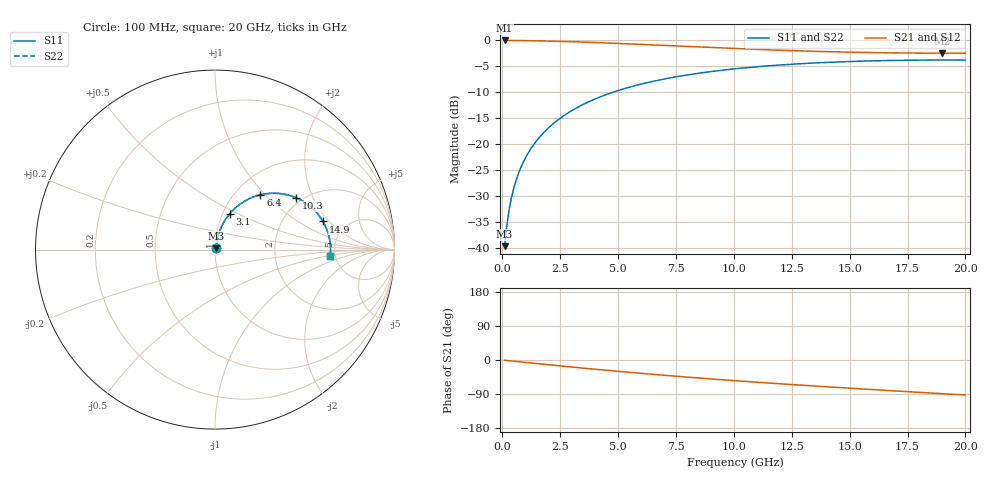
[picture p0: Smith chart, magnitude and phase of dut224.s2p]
! Touchstone file exported from HFSS 2026.1.0
!  File:  C:/ffzhzh/LocalFiles/Ansys_Project_Files/temp_train_TSV_RDL_224_1783063459_46780.aedt
!  Generated:  03:37:02 PM Jul  3, 2026
!  Design:  TSV_RDL
!  Project:  temp_train_TSV_RDL_224_1783063459_46780
! Variables:
!  h_bsmrdl = 5.81um
!  h_ox = 20um
!  h_rdl = 5um
!  h_sub = 50.63um
!  h_tmrdl = 5.46um
!  h_tsv = 50.63um
!  h_via = 3um
!  l_bsmrdl = 255.69um
!  l_sub = 1743.86um
!  l_tmrdl = 121.36um
!  m_sub = 200um
!  pitch = 57.96um
!  r_tsv = 8.37um
!  s_tmrdl = 10um
!  w_bsmrdl = 11.31um
!  w_sub = 500um
!  w_tmrdl = 19.14um
!  x_tsv_center1 = 130.93um
!  x_tsv_center2 = 397.93um
!  x_tsv_center3 = 538.43um
!  x_tsv_center4 = 805.43um
!  x_tsv_center5 = 945.93um
!  x_tsv_center6 = 1212.93um
# GHz S MA R 50.000000
! Terminal data exported
! Port[1] = TM_RDL1_1_T1
! Port[2] = TM_RDL5_1_T1
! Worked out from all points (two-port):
!   200 points, 100 MHz to 20 GHz, reference 50 ohm
!   highest |S21| = -0.06 dB at 100 MHz (marker M1); lowest = -2.5 dB at 19 GHz (marker M2)
!   |S21| within 3 dB of the highest: start of sweep to end of sweep
!   lowest |S11| = -39.6 dB at 100 MHz (marker M3), VSWR 1.02, Z = 50.7 + j0.76 ohm
!   |S11| at or under -10 dB: start of sweep to 4.794 GHz
!   |S22| runs from -39.6 to -3.8 dB; largest |S21 - S12| = 2.8e-14
!   S11 on the Smith chart (normalised r, x): 100 MHz: 1.01, +0.02; 3.1 GHz: 1.08, +0.45; 6.4 GHz: 1.30, +0.94; 10.3 GHz: 1.86, +1.51; 14.9 GHz: 3.34, +1.71; 20 GHz: 4.52, -0.58
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0.1  0.01044 45.9  0.9928 -0.6  0.9928 -0.6  0.01044 45.9
! Gamma 0 0 0 0
! Port Impedance 50 0 50 0
0.2  0.01677 62.8  0.9926 -1.3  0.9926 -1.3  0.01677 62.8
0.3  0.02374 69.6  0.9922 -1.9  0.9922 -1.9  0.02374 69.6
0.4  0.03086 72.9  0.9918 -2.6  0.9918 -2.6  0.03086 72.9
0.5  0.03801 74.8  0.9914 -3.2  0.9914 -3.2  0.03801 74.8
0.7  0.05232 76.4  0.9904 -4.5  0.9904 -4.5  0.05232 76.4
1  0.07371 76.9  0.9886 -6.3  0.9886 -6.3  0.07371 76.9
1.4  0.102 75.9  0.9856 -8.8  0.9856 -8.8  0.102 75.9
1.9  0.1368 73.9  0.9806 -11.9  0.9806 -11.9  0.1368 73.9
2.5  0.1773 70.9  0.9732 -15.6  0.9732 -15.6  0.1773 70.9
3.1  0.2162 67.6  0.9643 -19.2  0.9643 -19.2  0.2162 67.6
3.5  0.2412 65.5  0.9578 -21.5  0.9578 -21.5  0.2412 65.5
4.8  0.3165 58.5  0.9339 -28.8  0.9339 -28.8  0.3165 58.5
6.4  0.3966 50.3  0.9017 -37.3  0.9017 -37.3  0.3966 50.3
6.8  0.4145 48.3  0.8935 -39.4  0.8935 -39.4  0.4145 48.3
10.1  0.5312 33.4  0.8297 -54.8  0.8297 -54.8  0.5312 33.4
10.3  0.5367 32.5  0.8263 -55.7  0.8263 -55.7  0.5367 32.5
13.4  0.6017 20.2  0.7816 -68.3  0.7816 -68.3  0.6017 20.2
14.9  0.6215 14.6  0.7666 -74.0  0.7666 -74.0  0.6215 14.6
16.7  0.6368 8.2  0.7547 -80.7  0.7547 -80.7  0.6368 8.2
19  0.6438 0.1  0.7492 -88.9  0.7492 -88.9  0.6438 0.1
20  0.6426 -3.4  0.7502 -92.5  0.7502 -92.5  0.6426 -3.4
